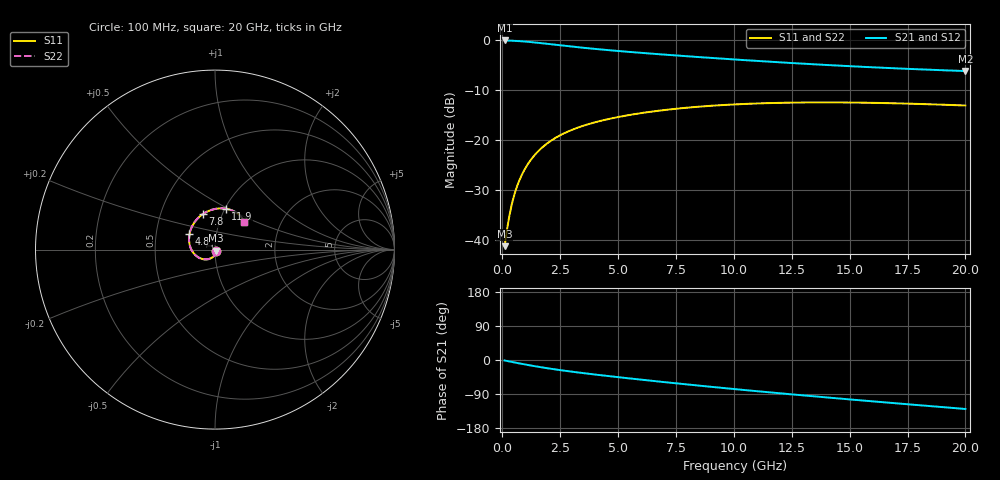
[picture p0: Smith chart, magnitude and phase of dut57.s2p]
! Touchstone file exported from HFSS 2024.1.0
!  File:  C:/UserFiles/LocalFiles/RDL_TSV_Batchsim/temp_RDL_TSV_57_1779408270.aedt
!  Generated:  08:21:16 AM May 22, 2026
!  Design:  RDL_TSV
!  Project:  temp_RDL_TSV_57_1779408270
!  Setup:  Setup1
!  Solution:  Sweep
! Variables:
!  dtsv = 9.1um
!  hbump = 3um
!  htsv = 99.44um
!  ldown = 304.73um
!  lrdl = 124.94um
!  p = 40
!  p1 = 40.88um
!  rhole = 10um
!  subl = 1413.95um
!  t = 450um
!  tdown = 4.86um
!  trdl = 2.46um
!  viad = 10um
!  wdown = 23.61um
!  wrdl = 24.49um
!  xbump = 18um
# GHz S MA R 50.000000
! Terminal data exported
! Port[1] = TM1_1_T1
! Port[2] = TM1_4_T1
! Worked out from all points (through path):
!   200 points, 100 MHz to 20 GHz, reference 50 ohm
!   highest |S21| = -0.07 dB at 100 MHz (marker M1); lowest = -6.2 dB at 20 GHz (marker M2)
!   group delay of S21, straight-line fit = 16.9 ps
!   lowest |S11| = -41.2 dB at 100 MHz (marker M3), VSWR 1.02, Z = 50.7 - j0.546 ohm
!   |S11| at or under -10 dB: start of sweep to end of sweep
!   |S22| runs from -41.2 to -12.5 dB; largest |S21 - S12| = 1.5e-14
!   S11 on the Smith chart (normalised r, x): 100 MHz: 1.01, -0.01; 4.8 GHz: 0.74, +0.13; 7.8 GHz: 0.81, +0.33; 11.9 GHz: 1.01, +0.49; 20 GHz: 1.31, +0.42
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0.1  0.008661 -38.4  0.9919 -1.3  0.9919 -1.3  0.00866 -38.5
! Gamma 0 0 0 0
! Port Impedance 50 0 50 0
0.2  0.01251 -60.6  0.9907 -2.5  0.9907 -2.5  0.01253 -60.7
0.3  0.01721 -73.7  0.989 -3.8  0.989 -3.8  0.01723 -73.7
0.4  0.02222 -82.7  0.9868 -5.0  0.9868 -5.0  0.02225 -82.8
0.5  0.02735 -89.8  0.9843 -6.2  0.9843 -6.2  0.02739 -89.8
0.6  0.03249 -95.8  0.9814 -7.4  0.9814 -7.4  0.03254 -95.8
0.8  0.04263 -105.8  0.9745 -9.7  0.9745 -9.7  0.0427 -105.9
1.1  0.0572 -118.5  0.9619 -13.1  0.9619 -13.1  0.05729 -118.5
1.5  0.07507 -133.0  0.9419 -17.4  0.9419 -17.4  0.07519 -133.0
1.8  0.08722 -142.7  0.9256 -20.4  0.9256 -20.4  0.08735 -142.7
2.1  0.09831 -151.7  0.909 -23.2  0.909 -23.2  0.09845 -151.7
2.7  0.1177 -167.9  0.8767 -28.4  0.8767 -28.4  0.1179 -168.0
3.5  0.139 173.5  0.8378 -34.6  0.8378 -34.6  0.1391 173.5
4.8  0.1662 149.0  0.7853 -43.9  0.7853 -43.9  0.1663 149.0
5.8  0.183 133.6  0.7515 -50.6  0.7515 -50.6  0.1832 133.6
6.8  0.1971 120.5  0.7214 -57.1  0.7214 -57.1  0.1973 120.5
7.8  0.2088 109.2  0.6939 -63.4  0.6939 -63.4  0.209 109.2
10.1  0.2276 88.2  0.6382 -77.2  0.6382 -77.2  0.2279 88.2
11.9  0.2354 75.5  0.6008 -87.4  0.6008 -87.4  0.2356 75.5
13.4  0.2379 66.8  0.5736 -95.6  0.5736 -95.6  0.2382 66.8
16.7  0.2339 52.3  0.5251 -112.7  0.5251 -112.7  0.2342 52.3
20  0.2216 43.3  0.4901 -129.2  0.4901 -129.2  0.222 43.3
